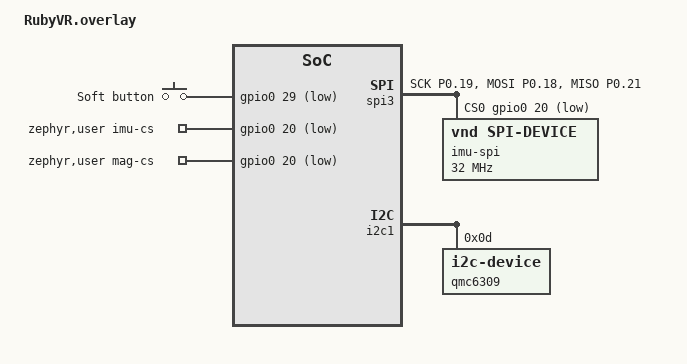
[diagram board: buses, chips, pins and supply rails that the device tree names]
&pinctrl {
	spi3_default: spi3_default {
		group1 {
		psels = <NRF_PSEL(SPIM_SCK, 0, 19)>,
				<NRF_PSEL(SPIM_MOSI, 0, 18)>,
				<NRF_PSEL(SPIM_MISO, 0, 21)>;
		};
	};

	spi3_sleep: spi3_sleep {
		group1 {
		psels = <NRF_PSEL(SPIM_SCK, 0, 19)>,
				<NRF_PSEL(SPIM_MOSI, 0, 18)>,
				<NRF_PSEL(SPIM_MISO, 0, 21)>;
			low-power-enable;
		};
	};
};

&spi3 {
	compatible = "nordic,nrf-spim";
	status = "okay";
	max-frequency = <DT_FREQ_M(32)>;
	pinctrl-0 = <&spi3_default>;
	pinctrl-1 = <&spi3_sleep>;
	pinctrl-names = "default", "sleep";
	cs-gpios = <&gpio0 20 GPIO_ACTIVE_LOW>;

	imu_spi: imu_spi@0 {
		compatible = "vnd,spi-device";
		spi-max-frequency = <DT_FREQ_M(32)>;
		label = "imu-spi";
		reg = <0>;
	};
};

{
	buttons {
		compatible = "gpio-keys";
		soft_button: soft_button_0 {
			gpios = <&gpio0 29 (GPIO_PULL_UP | GPIO_ACTIVE_LOW)>;
			label = "Soft button";
		};
	};

	aliases {
		soft-button = &soft_button;
	};

	zephyr,user {
		imu-cs-gpios = <&gpio0 20 GPIO_ACTIVE_LOW>;
		mag-cs-gpios = <&gpio0 20 GPIO_ACTIVE_LOW>;
		tdma-enabled = <1>;
		tdma-slot-count = <12>;
	};
};

&i2c1 {
	mag: mag@0x0D {
		compatible = "i2c-device";
		label = "qmc6309";
		reg = <0x0D>;
	};
};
